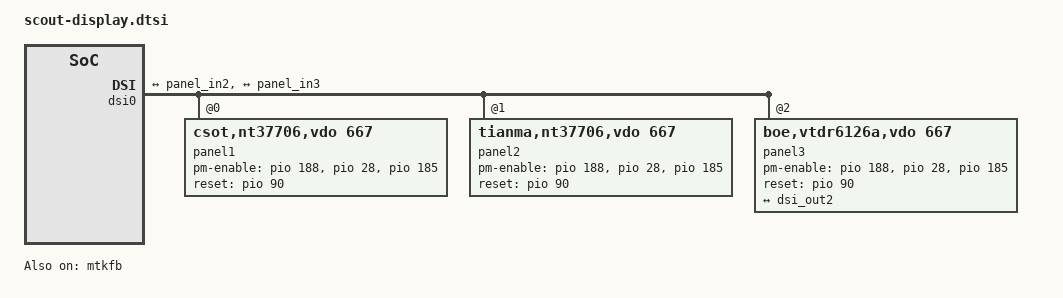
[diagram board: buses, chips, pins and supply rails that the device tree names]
/* Copyright (c) 2023, Motorola Mobility Inc. All rights reserved.
 *
 * This program is free software; you can redistribute it and/or modify
 * it under the terms of the GNU General Public License version 2 and
 * only version 2 as published by the Free Software Foundation.
 *
 * This program is distributed in the hope that it will be useful,
 * but WITHOUT ANY WARRANTY; without even the implied warranty of
 * MERCHANTABILITY or FITNESS FOR A PARTICULAR PURPOSE.  See the
 * GNU General Public License for more details.
 */

&mipi_tx_config0 {
	mipi-volt = <11>;
};

&dsi0 {
	status = "okay";

	panel1@0 {
		/delete-property/ compatible;
		/delete-property/ pm-enable-gpios;
		/delete-property/ reset-gpios;
		/delete-property/ gate-ic;
		/delete-property/ swap-from-dts;
		/delete-property/ lane-swap-setting;
		/delete-property/ pn-swap-setting;

		compatible = "csot,nt37706,vdo,667";
		reg = <0>;

                pm-enable-gpios = <&pio 188 0>,
                          <&pio 28 0>,
                          <&pio 185 0>;
                reset-gpios = <&pio 90 0>;
		pinctrl-names = "default";
	};

	panel2@1 {
		/delete-property/ compatible;
		/delete-property/ pm-enable-gpios;
		/delete-property/ reset-gpios;
		/delete-property/ gate-ic;
		/delete-property/ swap-from-dts;
		/delete-property/ lane-swap-setting;
		/delete-property/ pn-swap-setting;

		compatible = "tianma,nt37706,vdo,667";
		reg = <1>;

                pm-enable-gpios = <&pio 188 0>,
                          <&pio 28 0>,
                          <&pio 185 0>;
                reset-gpios = <&pio 90 0>;
		pinctrl-names = "default";
	};

	panel3@2 {
		/delete-property/ compatible;
		/delete-property/ pm-enable-gpios;
		/delete-property/ reset-gpios;
		/delete-property/ gate-ic;
		/delete-property/ swap-from-dts;
		/delete-property/ lane-swap-setting;
		/delete-property/ pn-swap-setting;

		compatible = "boe,vtdr6126a,vdo,667";
		reg = <2>;

                pm-enable-gpios = <&pio 188 0>,
                          <&pio 28 0>,
                          <&pio 185 0>;
                reset-gpios = <&pio 90 0>;
		pinctrl-names = "default";
		port {
			panel_in2: endpoint {
				remote-endpoint = <&dsi_out2>;
			};
		};
	};

	panel4@3 {
		/delete-property/ compatible;
		/delete-property/ pm-enable-gpios;
		/delete-property/ reset-gpios;
		/delete-property/ gate-ic;
		/delete-property/ swap-from-dts;
		/delete-property/ lane-swap-setting;
		/delete-property/ pn-swap-setting;

                compatible = "mot,dummy,vdo,60hz";
                reg = <3>;
                reset-gpios = <&pio 90 0>;
		pinctrl-names = "default";
		port {
			panel_in3: endpoint {
				remote-endpoint = <&dsi_out3>;
			};
		};
	};

	ports {
		port {
			dsi_out2: endpoint2 {
				remote-endpoint = <&panel_in2>;
			};
			dsi_out3: endpoint3 {
				remote-endpoint = <&panel_in3>;
			};
		};
	};
};


&mtkfb {
	/delete-property/ pinctrl-names;
	/delete-property/ pinctrl-0;
	/delete-property/ pinctrl-1;
	/delete-property/ pinctrl-2;
	/delete-property/ pinctrl-3;
	/delete-property/ pinctrl-4;
	/delete-property/ pinctrl-5;
	/delete-property/ pinctrl-6;
	/delete-property/ pinctrl-7;
	/delete-property/ pinctrl-8;
	/delete-property/ pinctrl-9;
	/delete-property/ pinctrl-10;

	pinctrl-names = "lcm_rst_out0_gpio", "mode_te_te",
		"oled_vci_en_gpio", "oled_vio_en_gpio",
		"oled_dvdd_en_gpio";

	pinctrl-0 = <&mtkfb_pins_lcm_rst_out_gpio>;
	pinctrl-1 = <&mtkfb_pins_lcm_dsi_te>;
	pinctrl-2 = <&mtkfb_pins_oled_vci_en>;
	pinctrl-3 = <&mtkfb_pins_oled_vio_en>;
	pinctrl-4 = <&mtkfb_pins_oled_dvdd_en>;

	status = "okay";

};


&pio {
	mtkfb_pins_oled_vci_en: oled_vci_en_gpio {
		pins_cmd_dat {
			pinmux = <PINMUX_GPIO185__FUNC_GPIO185>;
			slew-rate = <1>;
			output-low;
		};
	};

	mtkfb_pins_oled_vio_en: oled_vio_en_gpio {
		pins_cmd_dat {
			pinmux = <PINMUX_GPIO188__FUNC_GPIO188>;
			slew-rate = <1>;
			output-low;
		};
	};

	mtkfb_pins_oled_dvdd_en: oled_dvdd_en_gpio {
		pins_cmd_dat {
			pinmux = <PINMUX_GPIO28__FUNC_GPIO28>;
			slew-rate = <1>;
			output-low;
		};
	};

	mtkfb_pins_lcm_rst_out_gpio: lcm_rst_out_gpio {
		pins_cmd_dat {
			pinmux = <PINMUX_GPIO90__FUNC_GPIO90>;
			slew-rate = <1>;
			output-low;
		};
	};
};

&i2c6 {
	gate_ic: gate-ic@11 {
		status = "disabled";
	};
};
